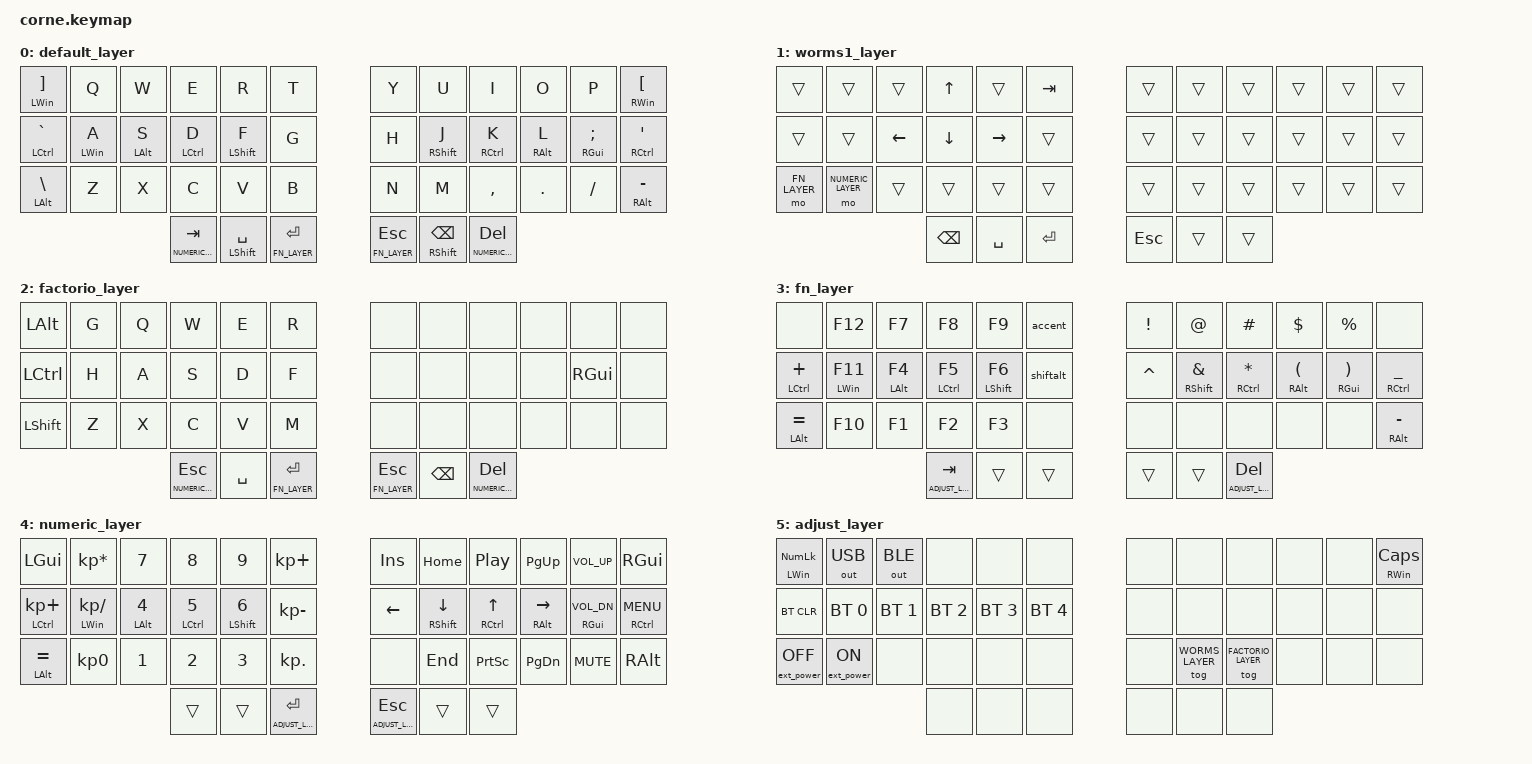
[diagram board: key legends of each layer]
/*
 * Copyright (c) 2020 The ZMK Contributors
 *
 * SPDX-License-Identifier: MIT
 */

#include <behaviors.dtsi>
#include <dt-bindings/zmk/bt.h>
#include <dt-bindings/zmk/ext_power.h>
#include <dt-bindings/zmk/keys.h>
#include <dt-bindings/zmk/outputs.h>

#define DEFAULT_LAYER 0
#define WORMS_LAYER 1
#define FACTORIO_LAYER 2
#define FN_LAYER 3
#define NUMERIC_LAYER 4
#define ADJUST_LAYER 5

#define COMBO_TIMEOUT 50
#define COMBO_IDLE_TIMEOUT 125

&lt { quick_tap_ms = <220>; };

&mt { quick_tap_ms = <220>; };

/ {
    combos {
        compatible = "zmk,combos";
        exit_to_default_layer {
            bindings = <&to DEFAULT_LAYER>;
            key-positions = <0 11>;
            layers = <1 2>;
        };
        combo_paren_l {
            bindings = <&kp LPAR>;
            key-positions = <26 27>;
            timeout-ms = <COMBO_TIMEOUT>;
            require-prior-idle-ms = <COMBO_IDLE_TIMEOUT>;
        };
        combo_paren_r {
            bindings = <&kp RPAR>;
            key-positions = <27 28>;
            timeout-ms = <COMBO_TIMEOUT>;
            require-prior-idle-ms = <COMBO_IDLE_TIMEOUT>;
        };
        combo_bracket_l {
            bindings = <&kp LBKT>;
            key-positions = <31 32>;
            timeout-ms = <COMBO_TIMEOUT>;
            require-prior-idle-ms = <COMBO_IDLE_TIMEOUT>;
        };
        combo_bracket_r {
            bindings = <&kp RBKT>;
            key-positions = <32 33>;
            timeout-ms = <COMBO_TIMEOUT>;
            require-prior-idle-ms = <COMBO_IDLE_TIMEOUT>;
        };
        combo_brace_l {
            bindings = <&kp LBRC>;
            key-positions = <7 8>;
            timeout-ms = <COMBO_TIMEOUT>;
            require-prior-idle-ms = <COMBO_IDLE_TIMEOUT>;
        };
        combo_brace_r {
            bindings = <&kp RBRC>;
            key-positions = <8 9>;
            timeout-ms = <COMBO_TIMEOUT>;
            require-prior-idle-ms = <COMBO_IDLE_TIMEOUT>;
        };
    };

    macros {
        accent: accent {
            compatible = "zmk,behavior-macro";
            #binding-cells = <0>;
            label = "ACCENT";
            tap-ms = <0>;
            wait-ms = <0>;
            bindings =
                <&macro_press>,
                <&kp LCTRL &kp LSHFT>,
                <&macro_tap>,
                <&kp U>,
                <&macro_release>,
                <&kp LCTRL &kp LSHFT>,
                <&macro_tap>,
                <&kp N0 &kp N3 &kp N0 &kp N1 &kp SPC>;
        };

        shiftalt: shiftalt {
            compatible = "zmk,behavior-macro";
            #binding-cells = <0>;
            label = "SHIFTALT";
            tap-ms = <0>;
            wait-ms = <0>;
            bindings =
                <&macro_press>,
                <&kp LSHFT>,
                <&macro_tap>,
                <&kp LALT>,
                <&macro_release>,
                <&kp LSHFT>;
        };
    };
};

/ {
    keymap {
        compatible = "zmk,keymap";

        default_layer {
            bindings = <
//    ┌───────────┬───────────┬───────────┬────────────────────────┬─────────────┬───────────────────┬───────────────────┬──────────────┬────────────────────────┬───────────┬───────────┬───────────┐
//    │ mt lgui ] │     Q     │     W     │           E            │      R      │         T         │         Y         │      U       │           I            │     O     │     P     │ mt rgui [ │
//    ├───────────┼───────────┼───────────┼────────────────────────┼─────────────┼───────────────────┼───────────────────┼──────────────┼────────────────────────┼───────────┼───────────┼───────────┤
//    │ mt lctl ` │ mt lgui A │ mt lalt S │       mt lctl D        │  mt lsft F  │         G         │         H         │  mt rsft J   │       mt rctl K        │ mt ralt L │ mt rgui ; │ mt rctl ' │
//    ├───────────┼───────────┼───────────┼────────────────────────┼─────────────┼───────────────────┼───────────────────┼──────────────┼────────────────────────┼───────────┼───────────┼───────────┤
//    │ mt lalt \ │     Z     │     X     │           C            │      V      │         B         │         N         │      M       │           ,            │     .     │     /     │ mt ralt - │
//    └───────────┴───────────┴───────────┼────────────────────────┼─────────────┼───────────────────┼───────────────────┼──────────────┼────────────────────────┼───────────┴───────────┴───────────┘
//                                        │ lt NUMERIC_laltYER tab │ mt lsft spc │ lt FN_laltYER ent │ lt FN_laltYER esc │ mt rsft bspc │ lt NUMERIC_laltYER del │
//                                        └────────────────────────┴─────────────┴───────────────────┴───────────────────┴──────────────┴────────────────────────┘
  &mt LWIN RBKT     &kp Q        &kp W        &kp E                   &kp R             &kp T              &kp Y              &kp U            &kp I                   &kp O        &kp P           &mt RWIN LBKT
  &mt LCTRL GRAVE   &mt LWIN A   &mt LALT S   &mt LCTRL D             &mt LSHFT F       &kp G              &kp H              &mt RSHFT J      &mt RCTRL K             &mt RALT L   &mt RGUI SEMI   &mt RCTRL SQT
  &mt LALT BSLH     &kp Z        &kp X        &kp C                   &kp V             &kp B              &kp N              &kp M            &kp COMMA               &kp DOT      &kp FSLH        &mt RALT MINUS
                                              &lt NUMERIC_LAYER TAB   &mt LSHFT SPACE   &lt FN_LAYER RET   &lt FN_LAYER ESC   &mt RSHFT BSPC   &lt NUMERIC_LAYER DEL
            >;
        };



        worms1_layer {
            bindings = <
//    ┌───────────────┬────────────────────┬──────┬──────┬──────┬─────┬─────┬─────┬─────┬─────┬─────┬─────┐
//    │               │                    │      │  up  │      │ tab │     │     │     │     │     │     │
//    ├───────────────┼────────────────────┼──────┼──────┼──────┼─────┼─────┼─────┼─────┼─────┼─────┼─────┤
//    │               │                    │ left │ down │ rght │     │     │     │     │     │     │     │
//    ├───────────────┼────────────────────┼──────┼──────┼──────┼─────┼─────┼─────┼─────┼─────┼─────┼─────┤
//    │ mo FN_laltYER │ mo NUMERIC_laltYER │      │      │      │     │     │     │     │     │     │     │
//    └───────────────┴────────────────────┴──────┼──────┼──────┼─────┼─────┼─────┼─────┼─────┴─────┴─────┘
//                                                │ bspc │ spc  │ ent │ esc │     │     │
//                                                └──────┴──────┴─────┴─────┴─────┴─────┘
  &trans         &trans              &trans           &kp UP_ARROW     &trans            &kp TAB     &trans    &trans   &trans   &trans   &trans   &trans
  &trans         &trans              &kp LEFT_ARROW   &kp DOWN_ARROW   &kp RIGHT_ARROW   &trans      &trans    &trans   &trans   &trans   &trans   &trans
  &mo FN_LAYER   &mo NUMERIC_LAYER   &trans           &trans           &trans            &trans      &trans    &trans   &trans   &trans   &trans   &trans
                                                      &kp BACKSPACE    &kp SPACE         &kp ENTER   &kp ESC   &trans   &trans
            >;


        };
        factorio_layer {
            bindings = <
//    ┌──────┬───┬───┬────────────────────────┬─────┬───────────────────┬───────────────────┬──────┬────────────────────────┬─────┬──────┬─────┐
//    │ lalt │ G │ Q │           W            │  E  │         R         │                   │      │                        │     │      │     │
//    ├──────┼───┼───┼────────────────────────┼─────┼───────────────────┼───────────────────┼──────┼────────────────────────┼─────┼──────┼─────┤
//    │ lctl │ H │ A │           S            │  D  │         F         │                   │      │                        │     │ rgui │     │
//    ├──────┼───┼───┼────────────────────────┼─────┼───────────────────┼───────────────────┼──────┼────────────────────────┼─────┼──────┼─────┤
//    │ lsft │ Z │ X │           C            │  V  │         M         │                   │      │                        │     │      │     │
//    └──────┴───┴───┼────────────────────────┼─────┼───────────────────┼───────────────────┼──────┼────────────────────────┼─────┴──────┴─────┘
//                   │ lt NUMERIC_laltYER esc │ spc │ lt FN_laltYER ent │ lt FN_laltYER esc │ bspc │ lt NUMERIC_laltYER del │
//                   └────────────────────────┴─────┴───────────────────┴───────────────────┴──────┴────────────────────────┘
  &kp LALT    &kp G   &kp Q   &kp W                   &kp E       &kp R              &none              &none      &none                   &none   &none      &none
  &kp LCTRL   &kp H   &kp A   &kp S                   &kp D       &kp F              &none              &none      &none                   &none   &kp RGUI   &none
  &kp LSHFT   &kp Z   &kp X   &kp C                   &kp V       &kp M              &none              &none      &none                   &none   &none      &none
                              &lt NUMERIC_LAYER ESC   &kp SPACE   &lt FN_LAYER RET   &lt FN_LAYER ESC   &kp BSPC   &lt NUMERIC_LAYER DEL
            >;
        };

        fn_layer {
            bindings = <
//    ┌───────────┬─────────────┬────────────┬───────────────────────┬────────────┬───────────┬─────┬───────────┬───────────────────────┬───────────┬───────────┬───────────┐
//    │           │     f12     │     f7     │          f8           │     f9     │  &accent  │  !  │     @     │           #           │     $     │     %     │           │
//    ├───────────┼─────────────┼────────────┼───────────────────────┼────────────┼───────────┼─────┼───────────┼───────────────────────┼───────────┼───────────┼───────────┤
//    │ mt lctl + │ mt lgui f11 │ mt lalt f4 │      mt lctl f5       │ mt lsft f6 │ &shiftalt │  ^  │ mt rsft & │       mt rctl *       │ mt ralt ( │ mt rgui ) │ mt rctl _ │
//    ├───────────┼─────────────┼────────────┼───────────────────────┼────────────┼───────────┼─────┼───────────┼───────────────────────┼───────────┼───────────┼───────────┤
//    │ mt lalt = │     f10     │     f1     │          f2           │     f3     │           │     │           │                       │           │           │ mt ralt - │
//    └───────────┴─────────────┴────────────┼───────────────────────┼────────────┼───────────┼─────┼───────────┼───────────────────────┼───────────┴───────────┴───────────┘
//                                           │ lt ADJUST_laltYER tab │            │           │     │           │ lt ADJUST_laltYER del │
//                                           └───────────────────────┴────────────┴───────────┴─────┴───────────┴───────────────────────┘
  &none            &kp F12        &kp F7        &kp F8                 &kp F9         &accent     &kp EXCLAMATION   &kp AT           &kp HASH               &kp DOLLAR      &kp PERCENT     &none
  &mt LCTRL PLUS   &mt LWIN F11   &mt LALT F4   &mt LCTRL F5           &mt LSHFT F6   &shiftalt   &kp CARET         &mt RSHFT AMPS   &mt RCTRL STAR         &mt RALT LPAR   &mt RGUI RPAR   &mt RCTRL UNDER
  &mt LALT EQUAL   &kp F10        &kp F1        &kp F2                 &kp F3         &none       &none             &none            &none                  &none           &none           &mt RALT MINUS
                                                &lt ADJUST_LAYER TAB   &trans         &trans      &trans            &trans           &lt ADJUST_LAYER DEL
            >;
        };

        numeric_layer {
            bindings = <
//    ┌──────────────┬──────────────┬───────────┬───────────┬───────────┬───────────────────────┬───────────────────────┬──────────────┬────────────┬──────────────┬──────────────┬────────────────┐
//    │     lgui     │     kp_*     │     7     │     8     │     9     │         kp_+          │          ins          │     home     │    play    │     pgup     │     volu     │      rgui      │
//    ├──────────────┼──────────────┼───────────┼───────────┼───────────┼───────────────────────┼───────────────────────┼──────────────┼────────────┼──────────────┼──────────────┼────────────────┤
//    │ mt lctl kp_+ │ mt lgui kp_/ │ mt lalt 4 │ mt lctl 5 │ mt lsft 6 │         kp_-          │         left          │ mt rsft down │ mt rctl up │ mt ralt rght │ mt rgui vold │ mt rctl K_MENU │
//    ├──────────────┼──────────────┼───────────┼───────────┼───────────┼───────────────────────┼───────────────────────┼──────────────┼────────────┼──────────────┼──────────────┼────────────────┤
//    │  mt lalt =   │      0       │     1     │     2     │     3     │         kp_.          │                       │     end      │    pscr    │     pgdn     │     mute     │      ralt      │
//    └──────────────┴──────────────┴───────────┼───────────┼───────────┼───────────────────────┼───────────────────────┼──────────────┼────────────┼──────────────┴──────────────┴────────────────┘
//                                              │           │           │ lt ADJUST_laltYER ent │ lt ADJUST_laltYER esc │              │            │
//                                              └───────────┴───────────┴───────────────────────┴───────────────────────┴──────────────┴────────────┘
  &kp LGUI            &kp KP_MULTIPLY      &kp N7              &kp N8         &kp N9               &kp KP_PLUS            &kp INSERT             &kp HOME         &kp C_PP       &kp PG_UP        &kp C_VOL_UP        &kp RGUI
  &mt LCTRL KP_PLUS   &mt LWIN KP_DIVIDE   &mt LALT NUMBER_4   &mt LCTRL N5   &mt LSHFT NUMBER_6   &kp KP_MINUS           &kp LEFT               &mt RSHFT DOWN   &mt RCTRL UP   &mt RALT RIGHT   &mt RGUI C_VOL_DN   &mt RCTRL K_MENU
  &mt LALT EQUAL      &kp KP_NUMBER_0      &kp N1              &kp N2         &kp N3               &kp KP_DOT             &none                  &kp END          &kp PSCRN      &kp PG_DN        &kp C_MUTE          &kp RALT
                                                               &trans         &trans               &lt ADJUST_LAYER RET   &lt ADJUST_LAYER ESC   &trans           &trans
            >;
        };

        adjust_layer {
            bindings = <
//    ┌──────────────┬──────────┬──────────┬──────────┬──────────┬──────────┬─────┬───────────────────┬──────────────────────┬─────┬─────┬──────────────┐
//    │ mt lgui nlck │ out_ usb │ out_ ble │          │          │          │     │                   │                      │     │     │ mt rgui caps │
//    ├──────────────┼──────────┼──────────┼──────────┼──────────┼──────────┼─────┼───────────────────┼──────────────────────┼─────┼─────┼──────────────┤
//    │    bt_clr    │ bt_sel 0 │ bt_sel 1 │ bt_sel 2 │ bt_sel 3 │ bt_sel 4 │     │                   │                      │     │     │              │
//    ├──────────────┼──────────┼──────────┼──────────┼──────────┼──────────┼─────┼───────────────────┼──────────────────────┼─────┼─────┼──────────────┤
//    │   epwr_ on   │ epwr_ on │          │          │          │          │     │ tog WORMS_laltYER │ tog FACTORIO_laltYER │     │     │              │
//    └──────────────┴──────────┴──────────┼──────────┼──────────┼──────────┼─────┼───────────────────┼──────────────────────┼─────┴─────┴──────────────┘
//                                         │          │          │          │     │                   │                      │
//                                         └──────────┴──────────┴──────────┴─────┴───────────────────┴──────────────────────┘
  &mt LWIN KP_NUMLOCK   &out OUT_USB       &out OUT_BLE   &none          &none          &none          &none   &none              &none                 &none   &none   &mt RWIN CAPS
  &bt BT_CLR            &bt BT_SEL 0       &bt BT_SEL 1   &bt BT_SEL 2   &bt BT_SEL 3   &bt BT_SEL 4   &none   &none              &none                 &none   &none   &none
  &ext_power EP_OFF     &ext_power EP_ON   &none          &none          &none          &none          &none   &tog WORMS_LAYER   &tog FACTORIO_LAYER   &none   &none   &none
                                                          &none          &none          &none          &none   &none              &none
            >;
        };

    };
};
